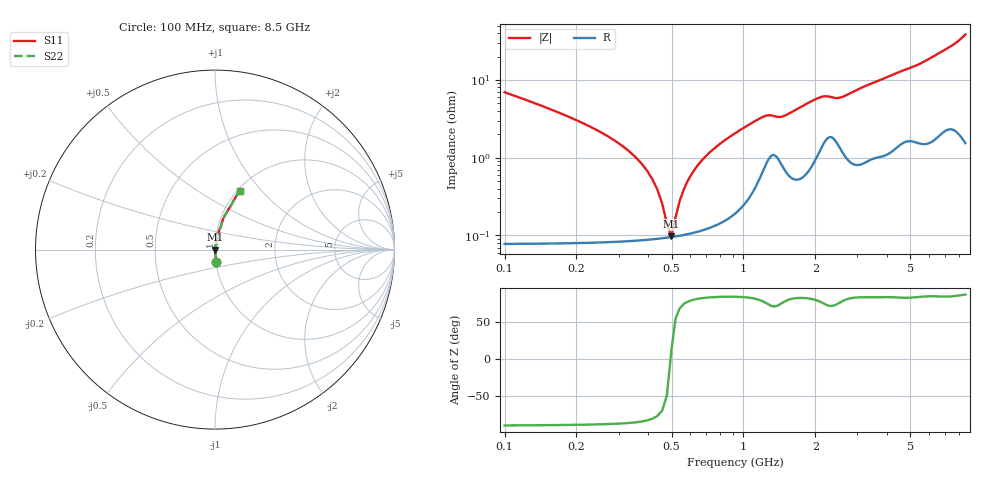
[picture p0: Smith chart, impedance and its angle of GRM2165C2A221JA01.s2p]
!Murata Part Number: GRM2165C2A221JA01
!These Parameters are Measured in Series Mode Connection
!Data Generated on Mar 30, 2021
!  o--ll--o
!Port1  Port2
!  o------o
!Operation Temp=25[degC], DC Bias Voltage=0[V]
!Freq. Start=100[MHz] Stop=9[GHz] 401[Steps]
# Hz S RI R 50
!Freq.(Hz) S11(Real) S11(Imag) S21(Real) S21(Imag) S12(Real) S12(Imag) S22(Real) S22(Imag)
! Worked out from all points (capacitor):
!   401 points, 100 MHz to 8.5 GHz, reference 50 ohm
!   read as one part in series: C = 220 pF near 142 MHz
!   lowest |Z| = 97.4 mohm at 499 MHz (marker M1)
!   series resonance near 495.7 MHz, so ESL is about 470 pH
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1e8  0.00556 -0.069  0.9944 0.069  0.9944 0.069  0.00556 -0.069
3.52e8  0.000959 -0.0102  0.999 0.0102  0.999 0.0102  0.000959 -0.0102
4.15e8  0.000918 -0.00525  0.9991 0.00525  0.9991 0.00525  0.000918 -0.00525
4.57e8  0.000925 -0.0024  0.9991 0.0024  0.9991 0.0024  0.000925 -0.0024
4.78e8  0.000936 -0.00107  0.9991 0.00107  0.9991 0.00107  0.000936 -0.00107
4.99e8  0.000953 0.000197  0.999 -0.000197  0.999 -0.000197  0.000953 0.000197
5.2e8  0.000973 0.00142  0.999 -0.00142  0.999 -0.00142  0.000973 0.00142
5.41e8  0.000998 0.00259  0.999 -0.00259  0.999 -0.00259  0.000998 0.00259
5.83e8  0.00106 0.00484  0.9989 -0.00484  0.9989 -0.00484  0.00106 0.00484
6.25e8  0.00114 0.00697  0.9989 -0.00697  0.9989 -0.00697  0.00114 0.00697
6.88e8  0.00129 0.01  0.9987 -0.01  0.9987 -0.01  0.00129 0.01
7.93e8  0.00163 0.0148  0.9984 -0.0148  0.9984 -0.0148  0.00163 0.0148
9.61e8  0.00262 0.0221  0.9974 -0.0221  0.9974 -0.0221  0.00262 0.0221
1.192e9  0.00714 0.0319  0.9929 -0.0319  0.9929 -0.0319  0.00714 0.0319
1.507e9  0.00768 0.0342  0.9923 -0.0342  0.9923 -0.0342  0.00768 0.0342
2.074e9  0.0148 0.0564  0.9852 -0.0564  0.9852 -0.0564  0.0148 0.0564
2.515e9  0.0168 0.0555  0.9832 -0.0555  0.9832 -0.0555  0.0168 0.0555
2.914e9  0.013 0.0697  0.987 -0.0697  0.987 -0.0697  0.013 0.0697
4.3e9  0.0261 0.1146  0.9739 -0.1146  0.9739 -0.1146  0.0261 0.1146
5.707e9  0.042 0.1618  0.958 -0.1618  0.958 -0.1618  0.042 0.1618
7.114e9  0.078 0.227  0.922 -0.227  0.922 -0.227  0.078 0.227
8.5e9  0.1383 0.3258  0.8617 -0.3258  0.8617 -0.3258  0.1383 0.3258
